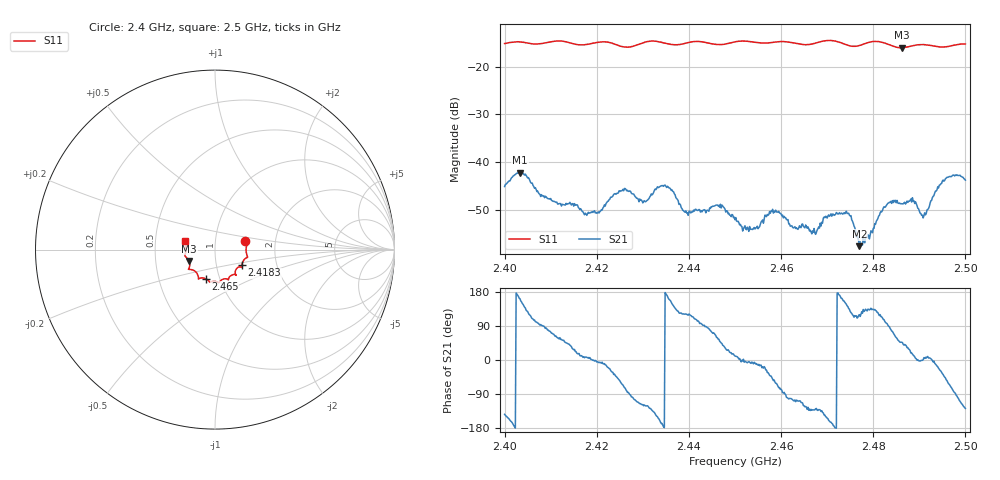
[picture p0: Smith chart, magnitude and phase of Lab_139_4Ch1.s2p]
# Hz S RI R 50
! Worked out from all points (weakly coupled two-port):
!   601 points, 2.4 GHz to 2.5 GHz, reference 50 ohm
!   highest |S21| = -42.27 dB at 2.4033 GHz (marker M1); lowest = -57.7 dB at 2.477 GHz (marker M2)
!   lowest |S11| = -16.0 dB at 2.4862 GHz (marker M3), VSWR 1.38, Z = 37.1 - j4.84 ohm
!   |S11| at or under -10 dB: start of sweep to end of sweep
!   S12 and S22 are empty: the file has one direction only
!   S11 on the Smith chart (normalised r, x): 2.4 GHz: 1.40, +0.13; 2.4183 GHz: 1.33, -0.24; 2.465 GHz: 0.86, -0.29; 2.5 GHz: 0.71, +0.07
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2.4e9  0.1688 0.0456  -0.00442 -0.00329  0 0  0 0
2.403333e9  0.1797 0.031  -0.00731 0.00243  0 0  0 0
2.416667e9  0.1547 -0.0683  0.00306 0.000625  0 0  0 0
2.418333e9  0.1497 -0.0867  0.0029 0.00022  0 0  0 0
2.425667e9  0.1282 -0.0989  0.00211 -0.0047  0 0  0 0
2.430333e9  0.1149 -0.1388  -0.00188 -0.00343  0 0  0 0
2.433333e9  0.1166 -0.1414  -0.00481 -0.00239  0 0  0 0
2.435833e9  0.1009 -0.1396  -0.00494 0.00197  0 0  0 0
2.439333e9  0.0766 -0.1592  -0.0016 0.00261  0 0  0 0
2.446333e9  0.0498 -0.1635  0.00198 0.00283  0 0  0 0
2.45e9  0.0251 -0.1808  0.00243 0.00045  0 0  0 0
2.453833e9  0.0148 -0.1814  0.00193 -0.000256  0 0  0 0
2.458333e9  -0.0199 -0.1794  0.00169 -0.00236  0 0  0 0
2.465e9  -0.0529 -0.1621  -0.00106 -0.00178  0 0  0 0
2.466667e9  -0.0714 -0.1575  -0.00119 -0.00129  0 0  0 0
2.474167e9  -0.0962 -0.1401  -0.00255 0.00165  0 0  0 0
2.477e9  -0.1218 -0.114  -0.000646 0.00113  0 0  0 0
2.483333e9  -0.142 -0.0958  6.28e-05 0.00371  0 0  0 0
2.486167e9  -0.1446 -0.0637  0.00248 0.00265  0 0  0 0
2.491e9  -0.1674 -0.0331  0.00271 0.000298  0 0  0 0
2.4955e9  -0.1609 0.0107  0.0045 -0.00453  0 0  0 0
2.5e9  -0.1667 0.047  -0.00396 -0.00507  0 0  0 0
